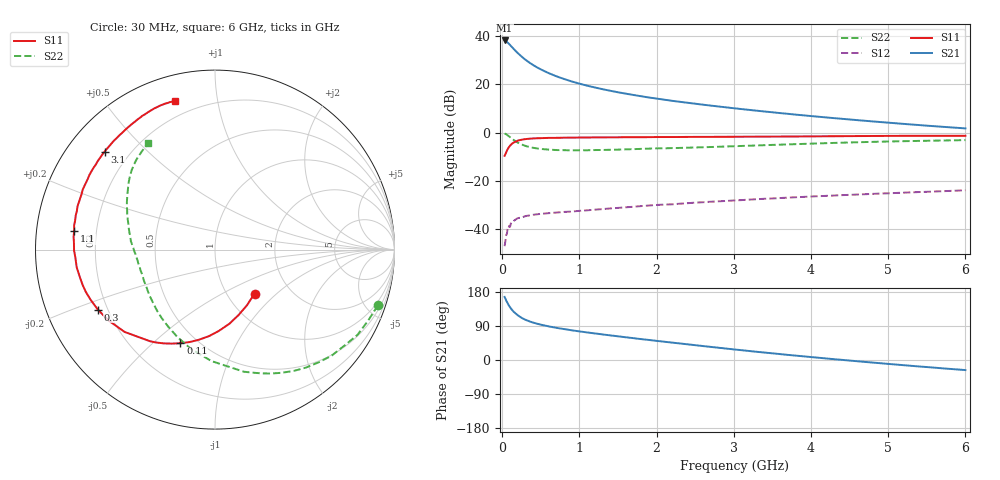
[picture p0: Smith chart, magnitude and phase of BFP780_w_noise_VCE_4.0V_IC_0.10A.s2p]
! Infineon Technologies  Discrete & RF Semiconductors
! BFP780
! VCE =  4.0 V,  IC = 0.10 A
! Common Emitter S-Parameters:  Jul 2015
# GHz  S  MA  R  50
!  f  S11  S21  S12  S22
! GHz  MAG  ANG  MAG  ANG  MAG  ANG  MAG  ANG
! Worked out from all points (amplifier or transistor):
!   75 points, 30 MHz to 6 GHz, reference 50 ohm
!   highest |S21| = 38.2 dB at 30 MHz (marker M1)
!   |S21| within 3 dB of that: start of sweep to 132.8 MHz
!   unconditionally stable (mu >= 1): 1.67 GHz to end of sweep
!   at 150 MHz: K = 0.17, MSG = 35.6 dB, |S12| = -36.6 dB
!   at 2.3 GHz: K = 1.13, MAG = 18.9 dB, |S12| = -29.5 dB
!   at 6 GHz: K = 1.21, MAG = 10.1 dB, |S12| = -23.9 dB
!   lowest NFmin = 2.08 dB at 450 MHz
!   S11 on the Smith chart (normalised r, x): 30 MHz: 1.33, -0.73; 110 MHz: 0.41, -0.62; 300 MHz: 0.16, -0.23; 1.1 GHz: 0.12, +0.06; 3.1 GHz: 0.11, +0.38; 6 GHz: 0.12, +0.76
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0.03  0.3296 -48.1  81.74 166.4  0.0044 70.8  0.9593 -18.9
0.05  0.3875 -70.2  78.11 157.3  0.0074 73.2  0.9252 -30.9
0.07  0.454 -87.4  73.53 149.5  0.0106 58.4  0.878 -42.4
0.09  0.5101 -100.1  68.4 142.5  0.0116 59.8  0.8298 -52.4
0.11  0.5562 -110.3  63.29 136.5  0.0128 52.2  0.7809 -61.5
0.13  0.5953 -118.6  58.53 131.4  0.0142 47.8  0.7367 -69.4
0.15  0.6257 -125.3  54.08 126.9  0.0148 44.4  0.6991 -76.7
0.2  0.6814 -137.7  44.81 118.0  0.0168 39.1  0.6211 -91.9
0.25  0.7128 -146.4  37.91 111.3  0.0173 33.4  0.569 -103.7
0.3  0.7334 -152.9  32.55 106.2  0.0185 31.8  0.5297 -113.4
0.35  0.7472 -158.0  28.45 102.1  0.0191 29.3  0.5025 -121.2
0.4  0.7574 -161.9  25.2 98.7  0.0197 28.5  0.4841 -127.7
0.5  0.7676 -168.0  20.47 93.2  0.0206 27.3  0.458 -137.9
0.6  0.7769 -172.7  17.19 88.8  0.0213 26.8  0.4448 -145.7
0.8  0.7852 -179.7  12.96 81.6  0.0226 27.1  0.432 -156.6
1.1  0.7912 172.5  9.415 72.7  0.0244 28.8  0.4306 -167.5
1.5  0.7991 164.4  6.869 62.5  0.0274 30.4  0.4438 -176.8
2.1  0.8094 154.0  4.815 48.2  0.0321 31.1  0.4724 173.3
3.1  0.8223 138.4  3.08 25.9  0.0398 29.7  0.5286 157.7
4.1  0.8374 124.5  2.134 5.9  0.048 26.2  0.5969 144.2
5.1  0.8562 113.3  1.563 -12.0  0.0559 20.9  0.6586 132.6
6  0.8587 105.2  1.223 -26.6  0.0636 15.1  0.699 122.1
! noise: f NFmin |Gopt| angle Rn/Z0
0.45  2.08  0.55  -177  0.08
0.9  2.13  0.57  -165  0.09
1.5  2.18  0.58  -158  0.11
1.8  2.37  0.58  -154  0.13
2.4  2.5  0.61  -143  0.2
3  2.79  0.65  -132  0.28
3.5  3.26  0.67  -121  0.43
